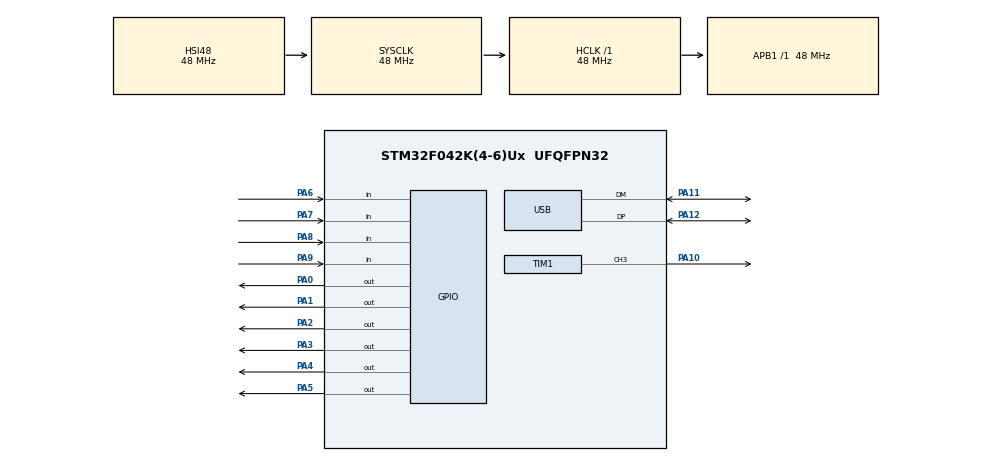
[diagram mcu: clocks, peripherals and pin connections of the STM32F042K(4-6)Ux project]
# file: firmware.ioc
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Mcu.Family=STM32F0
Dma.TIM1_CH3/UP.0.Direction=DMA_MEMORY_TO_PERIPH
NVIC.TIM14_IRQn=true\:0\:0\:false\:false\:true\:true\:true
USB_DEVICE.CLASS_NAME_FS=HID
Dma.TIM1_CH3/UP.0.Instance=DMA1_Channel5
NVIC.USB_IRQn=true\:0\:0\:false\:false\:true\:false\:true
USB_DEVICE.VirtualModeFS=Hid_FS
PA11.Mode=Device
PA9.GPIO_PuPd=GPIO_PULLDOWN
RCC.SYSCLKSource=RCC_SYSCLKSOURCE_HSI48
ProjectManager.StackSize=0x400
Dma.TIM1_CH3/UP.0.PeriphDataAlignment=DMA_PDATAALIGN_HALFWORD
Dma.TIM1_CH3/UP.0.MemDataAlignment=DMA_MDATAALIGN_BYTE
PA13.Signal=SYS_SWDIO
PA12.Signal=USB_DP
Dma.TIM1_CH3/UP.0.MemInc=DMA_MINC_ENABLE
ProjectManager.TargetToolchain=STM32CubeIDE
RCC.HCLKFreq_Value=48000000
PA9.Signal=GPIO_Input
VP_RCC_USB.Mode=CRS SYNC Source USB
PA10.GPIO_ModeDefaultPP=GPIO_MODE_AF_OD
PA1.Signal=GPIO_Output
PA7.GPIO_PuPd=GPIO_PULLDOWN
RCC.AHBFreq_Value=48000000
Dma.TIM1_CH3/UP.0.PeriphInc=DMA_PINC_DISABLE
PA5.Signal=GPIO_Output
board=custom
TIM14.Period=48000
NVIC.DMA1_Channel4_5_IRQn=true\:0\:0\:false\:false\:true\:false\:true
VP_USB_DEVICE_VS_USB_DEVICE_HID_FS.Mode=HID_FS
Dma.TIM1_CH3/UP.0.Mode=DMA_CIRCULAR
PA6.GPIO_PuPd=GPIO_PULLDOWN
PA14.Mode=Serial_Wire
PA8.Signal=GPIO_Input
PA13.Mode=Serial_Wire
Mcu.Name=STM32F042K(4-6)Ux
VP_TIM1_VS_ClockSourceINT.Mode=Internal
TIM14.Prescaler=9
PA2.Signal=GPIO_Output
PA0.Signal=GPIO_Output
PA4.Signal=GPIO_Output
RCC.SYSCLKFreq_VALUE=48000000
Mcu.Package=UFQFPN32
PA6.Signal=GPIO_Input
PA12.Mode=Device
PA11.Signal=USB_DM
PA10.Signal=S_TIM1_CH3
PA14.Signal=SYS_SWCLK
ProjectManager.HeapSize=0x200
SH.S_TIM1_CH3.0=TIM1_CH3,PWM Generation3 CH3
Dma.TIM1_CH3/UP.0.Priority=DMA_PRIORITY_LOW
PA8.GPIO_PuPd=GPIO_PULLDOWN
RCC.APB1TimFreq_Value=48000000
TIM1.Period=60-1
VP_TIM14_VS_ClockSourceINT.Mode=Enable_Timer
TIM1.Channel-PWM\ Generation3\ CH3=TIM_CHANNEL_3
Dma.Request0=TIM1_CH3/UP
RCC.APB1Freq_Value=48000000
USB_DEVICE.VirtualMode=Hid
PA3.Signal=GPIO_Output
PA7.Signal=GPIO_Input

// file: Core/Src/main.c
/* USER CODE BEGIN Header */
/**
  ******************************************************************************
  * @file           : main.c
  * @brief          : Main program body
  ******************************************************************************
  * @attention
  *
  * <h2><center>&copy; Copyright (c) 2021 STMicroelectronics.
  * All rights reserved.</center></h2>
  *
  * This software component is licensed by ST under Ultimate Liberty license
  * SLA0044, the "License"; You may not use this file except in compliance with
  * the License. You may obtain a copy of the License at:
  *                             www.st.com/SLA0044
  *
  ******************************************************************************
  */
/* USER CODE END Header */
#include "main.h"
#include "usb_device.h"

/* USER CODE BEGIN Includes */
#include "sk6812mini-e.h"
#include "serttings.h"
/* USER CODE END Includes */

TIM_HandleTypeDef htim1;
TIM_HandleTypeDef htim14;
DMA_HandleTypeDef hdma_tim1_ch3_up;

/* USER CODE BEGIN PV */
static volatile uint8_t interrupt;
extern USBD_HandleTypeDef hUsbDeviceFS;
/* USER CODE END PV */

void SystemClock_Config(void);
static void MX_GPIO_Init(void);
static void MX_DMA_Init(void);
static void MX_TIM14_Init(void);
static void MX_TIM1_Init(void);

/* USER CODE BEGIN 0 */
void HAL_TIM_PeriodElapsedCallback(TIM_HandleTypeDef *htim) {
	if (htim->Instance == TIM14) {
		interrupt = 1;
	}
}

void updateLED(){
	uint8_t LED[72];
	const uint8_t LEDorder[24] = {13,6,0,18,12,19,1,7,20,14,8,2,21,15,9,3,22,16,10,4,23,17,11,5};
	for(int i = 0; i < 24; i++){
		for(int j = 0; j < 3; j++){
			LED[i*3 + j] = LEDsettings[LEDorder[i]][j];
		}
	}
    sk6812miniE_start (LED, sizeof (LED), true);
}
/* USER CODE END 0 */

int main(void)
{
  /* USER CODE BEGIN 1 */
  interrupt = 0;

  //Define struct for USB Report.
  struct keyboardHID_t {
	  uint8_t modifiers;
	  uint8_t reserved;
	  uint8_t key[6];
  };

  /* USER CODE END 1 */

  /* MCU Configuration--------------------------------------------------------*/

  /* Reset of all peripherals, Initializes the Flash interface and the Systick. */
  HAL_Init();

  /* Configure the system clock */
  SystemClock_Config();

  /* Initialize all configured peripherals */
  MX_GPIO_Init();
  MX_DMA_Init();
  MX_TIM14_Init();
  MX_USB_DEVICE_Init();
  MX_TIM1_Init();
  /* USER CODE BEGIN 2 */
  HAL_TIM_Base_Start_IT(&htim14);
  sk6812miniE_init (&htim1, TIM_CHANNEL_3);
  /* USER CODE END 2 */

  /* Infinite loop */
  /* USER CODE BEGIN WHILE */
  while (1)
  {
      while(interrupt == 0);
      interrupt = 0;
      updateLED();
	  //Declaration,initialization struct for USB Report.
	  struct keyboardHID_t keyboardHID;
	  keyboardHID.modifiers = 0;
	  keyboardHID.reserved = 0;
	  for(int i = 0 ;i < 6; i++){
		  keyboardHID.key[i] = 0;
	  }

      //Set keycodes and modifiers of keyboardHID correspond to the state of keymatrix.
      //The maximum number of keys that can be pressed simultaneously is 6.
      int numOfKey = 0;
      for(int row=0;row<6;row++){
          const uint16_t inpin[4] = {GPIO_PIN_6,GPIO_PIN_7,GPIO_PIN_8,GPIO_PIN_9};
          const uint16_t outpin[6] = {GPIO_PIN_5,GPIO_PIN_4,GPIO_PIN_3,GPIO_PIN_2,GPIO_PIN_1,GPIO_PIN_0};
    	  for(int i=0;i<6;i++){
    		  if(i==row)HAL_GPIO_WritePin(GPIOA,outpin[i],GPIO_PIN_SET);
    	  	  else HAL_GPIO_WritePin(GPIOA,outpin[i],GPIO_PIN_RESET);
    	  }
    	  for(int line=0;line<4;line++){
    		  if(HAL_GPIO_ReadPin(GPIOA,inpin[line]) == GPIO_PIN_SET){
				  keyboardHID.key[numOfKey] = keycodes[line][row];
				  keyboardHID.modifiers |= modifiers[line][row];
				  numOfKey++;
				  if(numOfKey>=6)break;
              }
          }
          if(numOfKey>=6)break;
      }

      USBD_HID_SendReport(&hUsbDeviceFS, &keyboardHID, sizeof(struct keyboardHID_t));
    /* USER CODE END WHILE */

  }
}

void SystemClock_Config(void)
{
  RCC_OscInitTypeDef RCC_OscInitStruct = {0};
  RCC_ClkInitTypeDef RCC_ClkInitStruct = {0};
  RCC_PeriphCLKInitTypeDef PeriphClkInit = {0};
  RCC_CRSInitTypeDef RCC_CRSInitStruct = {0};

  /** Initializes the RCC Oscillators according to the specified parameters
  * in the RCC_OscInitTypeDef structure.
  */
  RCC_OscInitStruct.OscillatorType = RCC_OSCILLATORTYPE_HSI48;
  RCC_OscInitStruct.HSI48State = RCC_HSI48_ON;
  RCC_OscInitStruct.PLL.PLLState = RCC_PLL_NONE;
  if (HAL_RCC_OscConfig(&RCC_OscInitStruct) != HAL_OK)
  {
    Error_Handler();
  }
  /** Initializes the CPU, AHB and APB buses clocks
  */
  RCC_ClkInitStruct.ClockType = RCC_CLOCKTYPE_HCLK|RCC_CLOCKTYPE_SYSCLK
                              |RCC_CLOCKTYPE_PCLK1;
  RCC_ClkInitStruct.SYSCLKSource = RCC_SYSCLKSOURCE_HSI48;
  RCC_ClkInitStruct.AHBCLKDivider = RCC_SYSCLK_DIV1;
  RCC_ClkInitStruct.APB1CLKDivider = RCC_HCLK_DIV1;

  if (HAL_RCC_ClockConfig(&RCC_ClkInitStruct, FLASH_LATENCY_1) != HAL_OK)
  {
    Error_Handler();
  }
  PeriphClkInit.PeriphClockSelection = RCC_PERIPHCLK_USB;
  PeriphClkInit.UsbClockSelection = RCC_USBCLKSOURCE_HSI48;

  if (HAL_RCCEx_PeriphCLKConfig(&PeriphClkInit) != HAL_OK)
  {
    Error_Handler();
  }
  /** Enable the SYSCFG APB clock
  */
  __HAL_RCC_CRS_CLK_ENABLE();
  /** Configures CRS
  */
  RCC_CRSInitStruct.Prescaler = RCC_CRS_SYNC_DIV1;
  RCC_CRSInitStruct.Source = RCC_CRS_SYNC_SOURCE_USB;
  RCC_CRSInitStruct.Polarity = RCC_CRS_SYNC_POLARITY_RISING;
  RCC_CRSInitStruct.ReloadValue = __HAL_RCC_CRS_RELOADVALUE_CALCULATE(48000000,1000);
  RCC_CRSInitStruct.ErrorLimitValue = 34;
  RCC_CRSInitStruct.HSI48CalibrationValue = 32;

  HAL_RCCEx_CRSConfig(&RCC_CRSInitStruct);
}

static void MX_TIM1_Init(void)
{

  TIM_ClockConfigTypeDef sClockSourceConfig = {0};
  TIM_MasterConfigTypeDef sMasterConfig = {0};
  TIM_OC_InitTypeDef sConfigOC = {0};
  TIM_BreakDeadTimeConfigTypeDef sBreakDeadTimeConfig = {0};

  htim1.Instance = TIM1;
  htim1.Init.Prescaler = 0;
  htim1.Init.CounterMode = TIM_COUNTERMODE_UP;
  htim1.Init.Period = 60-1;
  htim1.Init.ClockDivision = TIM_CLOCKDIVISION_DIV1;
  htim1.Init.RepetitionCounter = 0;
  htim1.Init.AutoReloadPreload = TIM_AUTORELOAD_PRELOAD_DISABLE;
  if (HAL_TIM_Base_Init(&htim1) != HAL_OK)
  {
    Error_Handler();
  }
  sClockSourceConfig.ClockSource = TIM_CLOCKSOURCE_INTERNAL;
  if (HAL_TIM_ConfigClockSource(&htim1, &sClockSourceConfig) != HAL_OK)
  {
    Error_Handler();
  }
  if (HAL_TIM_PWM_Init(&htim1) != HAL_OK)
  {
    Error_Handler();
  }
  sMasterConfig.MasterOutputTrigger = TIM_TRGO_RESET;
  sMasterConfig.MasterSlaveMode = TIM_MASTERSLAVEMODE_DISABLE;
  if (HAL_TIMEx_MasterConfigSynchronization(&htim1, &sMasterConfig) != HAL_OK)
  {
    Error_Handler();
  }
  sConfigOC.OCMode = TIM_OCMODE_PWM1;
  sConfigOC.Pulse = 0;
  sConfigOC.OCPolarity = TIM_OCPOLARITY_HIGH;
  sConfigOC.OCNPolarity = TIM_OCNPOLARITY_HIGH;
  sConfigOC.OCFastMode = TIM_OCFAST_DISABLE;
  sConfigOC.OCIdleState = TIM_OCIDLESTATE_RESET;
  sConfigOC.OCNIdleState = TIM_OCNIDLESTATE_RESET;
  if (HAL_TIM_PWM_ConfigChannel(&htim1, &sConfigOC, TIM_CHANNEL_3) != HAL_OK)
  {
    Error_Handler();
  }
  sBreakDeadTimeConfig.OffStateRunMode = TIM_OSSR_DISABLE;
  sBreakDeadTimeConfig.OffStateIDLEMode = TIM_OSSI_DISABLE;
  sBreakDeadTimeConfig.LockLevel = TIM_LOCKLEVEL_OFF;
  sBreakDeadTimeConfig.DeadTime = 0;
  sBreakDeadTimeConfig.BreakState = TIM_BREAK_DISABLE;
  sBreakDeadTimeConfig.BreakPolarity = TIM_BREAKPOLARITY_HIGH;
  sBreakDeadTimeConfig.AutomaticOutput = TIM_AUTOMATICOUTPUT_DISABLE;
  if (HAL_TIMEx_ConfigBreakDeadTime(&htim1, &sBreakDeadTimeConfig) != HAL_OK)
  {
    Error_Handler();
  }
  HAL_TIM_MspPostInit(&htim1);

}

static void MX_TIM14_Init(void)
{

  htim14.Instance = TIM14;
  htim14.Init.Prescaler = 9;
  htim14.Init.CounterMode = TIM_COUNTERMODE_UP;
  htim14.Init.Period = 48000;
  htim14.Init.ClockDivision = TIM_CLOCKDIVISION_DIV1;
  htim14.Init.AutoReloadPreload = TIM_AUTORELOAD_PRELOAD_DISABLE;
  if (HAL_TIM_Base_Init(&htim14) != HAL_OK)
  {
    Error_Handler();
  }

}

static void MX_DMA_Init(void)
{

  /* DMA controller clock enable */
  __HAL_RCC_DMA1_CLK_ENABLE();

  /* DMA interrupt init */
  /* DMA1_Channel4_5_IRQn interrupt configuration */
  HAL_NVIC_SetPriority(DMA1_Channel4_5_IRQn, 0, 0);
  HAL_NVIC_EnableIRQ(DMA1_Channel4_5_IRQn);

}

static void MX_GPIO_Init(void)
{
  GPIO_InitTypeDef GPIO_InitStruct = {0};

  /* GPIO Ports Clock Enable */
  __HAL_RCC_GPIOA_CLK_ENABLE();

  /*Configure GPIO pin Output Level */
  HAL_GPIO_WritePin(GPIOA, GPIO_PIN_0|GPIO_PIN_1|GPIO_PIN_2|GPIO_PIN_3
                          |GPIO_PIN_4|GPIO_PIN_5, GPIO_PIN_RESET);

  /*Configure GPIO pins : PA0 PA1 PA2 PA3
                           PA4 PA5 */
  GPIO_InitStruct.Pin = GPIO_PIN_0|GPIO_PIN_1|GPIO_PIN_2|GPIO_PIN_3
                          |GPIO_PIN_4|GPIO_PIN_5;
  GPIO_InitStruct.Mode = GPIO_MODE_OUTPUT_PP;
  GPIO_InitStruct.Pull = GPIO_NOPULL;
  GPIO_InitStruct.Speed = GPIO_SPEED_FREQ_LOW;
  HAL_GPIO_Init(GPIOA, &GPIO_InitStruct);

  /*Configure GPIO pins : PA6 PA7 PA8 PA9 */
  GPIO_InitStruct.Pin = GPIO_PIN_6|GPIO_PIN_7|GPIO_PIN_8|GPIO_PIN_9;
  GPIO_InitStruct.Mode = GPIO_MODE_INPUT;
  GPIO_InitStruct.Pull = GPIO_PULLDOWN;
  HAL_GPIO_Init(GPIOA, &GPIO_InitStruct);

}

void Error_Handler(void)
{
  __disable_irq();
  while (1)
  {
  }
}

/************************ (C) COPYRIGHT STMicroelectronics *****END OF FILE****/
